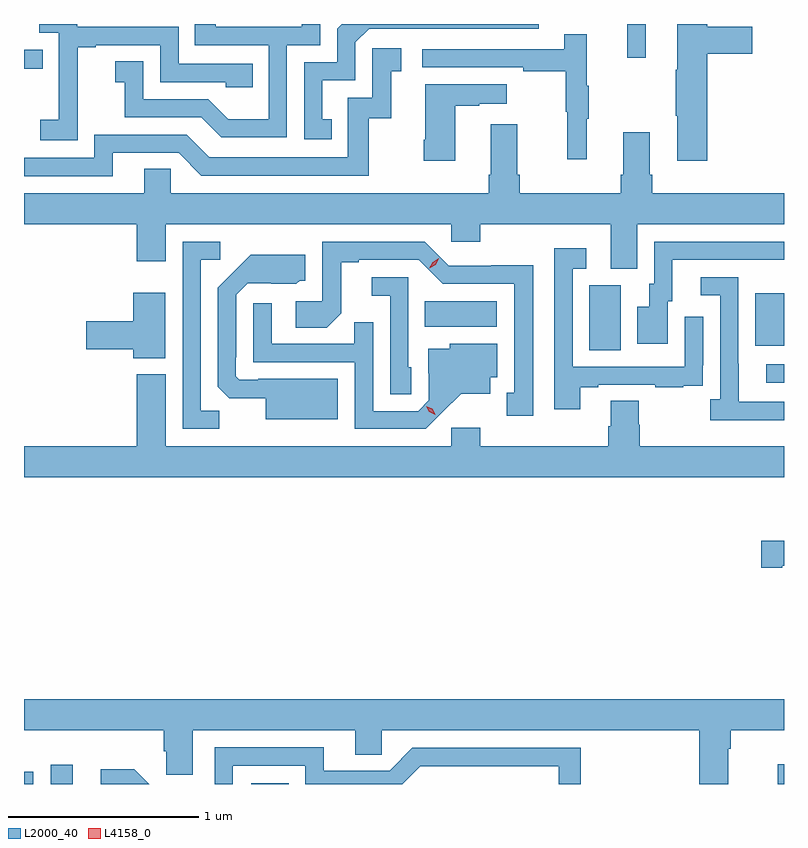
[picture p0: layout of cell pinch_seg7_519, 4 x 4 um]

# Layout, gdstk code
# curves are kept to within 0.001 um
import gdstk
lib = gdstk.Library(unit=1e-6, precision=1e-09)
def R(c, l, rs):  # rectangles x0, y0, x1, y1
    for r in rs: c.add(gdstk.rectangle(r[:2], r[2:], *l))
def P(c, l, *ps):  # polygons
    for p in ps: c.add(gdstk.Polygon(p, *l))
L2000_40 = (2000, 40)
L4158_0 = (4158, 0)

pinch_seg7_519 = lib.new_cell('pinch_seg7_519')
R(pinch_seg7_519, L2000_40, [(155.906,1058.942,155.955,1059.006), (156.048,1058.942,156.163,1059.043), (157.101,1058.942,157.299,1058.947), (159.874,1058.942,159.906,1059.046), (159.813,1061.055,159.906,1061.151), (158.882,1061.224,159.046,1061.568), (159.755,1061.249,159.906,1061.524), (158.014,1061.348,158.395,1061.482), (155.906,1062.706,156.005,1062.807), (159.081,1062.765,159.178,1062.942)])
P(pinch_seg7_519, L2000_40, [(159.503,1062.785),(159.739,1062.785),(159.739,1062.927),(159.503,1062.927),(159.503,1062.942),(159.344,1062.942),(159.344,1062.701),(159.337,1062.701),(159.337,1062.46),(159.344,1062.46),(159.344,1062.222),(159.503,1062.222)],
  [(157.29,1062.831),(157.464,1062.831),(157.464,1062.942),(157.367,1062.942),(157.367,1062.927),(156.916,1062.927),(156.916,1062.942),(156.805,1062.942),(156.805,1062.831),(157.194,1062.831),(157.194,1062.442),(156.98,1062.442),(156.876,1062.546),(156.534,1062.546),(156.534,1062.745),(156.387,1062.745),(156.387,1062.635),(156.436,1062.635),(156.436,1062.45),(156.839,1062.45),(156.944,1062.345),(157.29,1062.345)],
  [(156.189,1062.535),(156.188,1062.535),(156.188,1062.819),(156.283,1062.819),(156.283,1062.831),(156.624,1062.831),(156.624,1062.636),(156.969,1062.636),(156.969,1062.609),(157.109,1062.609),(157.109,1062.732),(156.72,1062.732),(156.72,1062.927),(156.186,1062.927),(156.186,1062.942),(155.985,1062.942),(155.985,1062.897),(156.09,1062.897),(156.09,1062.668),(156.089,1062.668),(156.089,1062.439),(155.991,1062.439),(155.991,1062.329),(156.189,1062.329)],
  [(157.526,1062.441),(157.477,1062.441),(157.477,1062.645),(157.65,1062.645),(157.65,1062.846),(157.722,1062.918),(158.616,1062.918),(158.616,1062.942),(157.578,1062.942),(157.554,1062.918),(157.554,1062.741),(157.38,1062.741),(157.38,1062.336),(157.526,1062.336)],
  [(158.867,1062.443),(158.878,1062.443),(158.878,1062.617),(158.867,1062.617),(158.867,1062.889),(158.749,1062.889),(158.749,1062.81),(158.001,1062.81),(158.001,1062.714),(158.533,1062.714),(158.533,1062.694),(158.757,1062.694),(158.757,1062.48),(158.764,1062.48),(158.764,1062.231),(158.867,1062.231)],
  [(156.373,1062.264),(156.72,1062.264),(156.84,1062.144),(157.72,1062.144),(157.72,1062.447),(157.838,1062.447),(157.838,1062.693),(157.891,1062.693),(157.891,1062.814),(157.74,1062.814),(157.74,1062.555),(157.611,1062.555),(157.611,1062.24),(156.882,1062.24),(156.762,1062.36),(156.276,1062.36),(156.276,1062.237),(155.906,1062.237),(155.906,1062.141),(156.373,1062.141)],
  [(158.176,1062.511),(158.303,1062.511),(158.303,1062.521),(158.446,1062.521),(158.446,1062.625),(158.018,1062.625),(158.018,1062.334),(158.011,1062.334),(158.011,1062.222),(158.176,1062.222)],
  [(159.133,1061.888),(159.906,1061.888),(159.906,1062.052),(159.212,1062.052),(159.212,1062.148),(159.199,1062.148),(159.199,1062.373),(159.059,1062.373),(159.059,1062.148),(159.047,1062.148),(159.047,1062.052),(158.516,1062.052),(158.516,1062.148),(158.503,1062.148),(158.503,1062.415),(158.363,1062.415),(158.363,1062.148),(158.351,1062.148),(158.351,1062.052),(156.678,1062.052),(156.678,1062.179),(156.539,1062.179),(156.539,1062.052),(155.906,1062.052),(155.906,1061.888),(156.5,1061.888),(156.5,1061.694),(156.652,1061.694),(156.652,1061.888),(158.154,1061.888),(158.154,1061.795),(158.306,1061.795),(158.306,1061.888),(158.993,1061.888),(158.993,1061.653),(159.133,1061.653)],
  [(158.587,1061.672),(158.364,1061.672),(158.364,1061.67),(158.142,1061.67),(158.016,1061.796),(157.476,1061.796),(157.476,1061.484),(157.335,1061.484),(157.335,1061.344),(157.499,1061.344),(157.575,1061.42),(157.575,1061.688),(157.669,1061.688),(157.669,1061.7),(157.983,1061.7),(158.109,1061.574),(158.486,1061.574),(158.486,1061.001),(158.447,1061.001),(158.447,1060.881),(158.587,1060.881)],
  [(156.933,1060.907),(156.837,1060.907),(156.837,1061.7),(156.94,1061.7),(156.94,1061.796),(156.741,1061.796),(156.741,1060.812),(156.933,1060.812)],
  [(159.295,1061.484),(159.319,1061.484),(159.319,1061.7),(159.906,1061.7),(159.906,1061.796),(159.222,1061.796),(159.222,1061.574),(159.197,1061.574),(159.197,1061.455),(159.134,1061.455),(159.134,1061.259),(159.295,1061.259)],
  [(158.833,1061.031),(158.929,1061.031),(158.929,1061.043),(159.229,1061.043),(159.229,1061.031),(159.377,1061.031),(159.377,1061.037),(159.479,1061.037),(159.479,1061.146),(159.48,1061.146),(159.48,1061.401),(159.384,1061.401),(159.384,1061.139),(158.793,1061.139),(158.793,1061.655),(158.866,1061.655),(158.866,1061.761),(158.697,1061.761),(158.697,1060.914),(158.833,1060.914)],
  [(157.558,1061.074),(157.138,1061.074),(157.138,1061.07),(157.038,1061.07),(157.02,1061.088),(157.02,1061.188),(157.023,1061.188),(157.023,1061.517),(157.083,1061.577),(157.34,1061.576),(157.356,1061.592),(157.387,1061.592),(157.387,1061.728),(157.099,1061.728),(156.927,1061.554),(156.927,1061.032),(156.986,1060.973),(157.178,1060.973),(157.178,1060.862),(157.558,1060.862)],
  [(157.944,1061.136),(157.929,1061.136),(157.929,1061.61),(157.737,1061.61),(157.737,1061.513),(157.833,1061.513),(157.833,1060.993),(157.944,1060.993)],
  [(159.906,1060.953),(159.667,1060.953),(159.667,1061.153),(159.666,1061.153),(159.666,1061.61),(159.468,1061.61),(159.468,1061.514),(159.57,1061.514),(159.57,1060.966),(159.519,1060.966),(159.519,1060.856),(159.906,1060.856)],
  [(156.649,1061.527),(156.482,1061.527),(156.482,1061.378),(156.234,1061.378),(156.234,1061.231),(156.482,1061.231),(156.482,1061.183),(156.649,1061.183)],
  [(158.104,1060.895),(158.207,1060.997),(158.359,1060.997),(158.359,1061.084),(158.398,1061.084),(158.398,1061.26),(158.148,1061.26),(158.148,1061.233),(158.033,1061.233),(158.033,1061.104),(158.037,1061.104),(158.037,1060.962),(157.98,1060.905),(157.743,1060.905),(157.743,1061.372),(157.645,1061.372),(157.645,1061.259),(157.209,1061.259),(157.209,1061.473),(157.113,1061.473),(157.113,1061.163),(157.647,1061.163),(157.647,1060.812),(158.02,1060.812)],
  [(158.993,1060.958),(158.993,1060.826),(158.981,1060.826),(158.981,1060.72),(158.306,1060.72),(158.306,1060.816),(158.154,1060.816),(158.154,1060.72),(156.652,1060.72),(156.652,1061.098),(156.5,1061.098),(156.5,1060.72),(155.906,1060.72),(155.906,1060.556),(159.906,1060.556),(159.906,1060.72),(159.146,1060.72),(159.146,1060.833),(159.141,1060.833),(159.141,1060.958)],
  [(159.898,1060.091),(159.906,1060.091),(159.906,1060.221),(159.786,1060.221),(159.786,1060.079),(159.898,1060.079)],
  [(159.613,1059.128),(159.626,1059.128),(159.626,1059.224),(159.906,1059.224),(159.906,1059.388),(155.906,1059.388),(155.906,1059.224),(156.641,1059.224),(156.641,1059.115),(156.654,1059.115),(156.654,1058.992),(156.793,1058.992),(156.793,1059.224),(157.649,1059.224),(157.649,1059.097),(157.788,1059.097),(157.788,1059.224),(159.461,1059.224),(159.461,1058.942),(159.613,1058.942)],
  [(157.005,1059.039),(157.386,1059.039),(157.386,1058.942),(157.898,1058.942),(157.992,1059.036),(158.721,1059.036),(158.721,1058.942),(158.837,1058.942),(158.837,1059.132),(157.95,1059.132),(157.83,1059.012),(157.483,1059.012),(157.483,1059.135),(156.909,1059.135),(156.909,1058.942),(157.005,1058.942)],
  [(156.487,1059.02),(156.309,1059.02),(156.309,1058.942),(156.565,1058.942)])
P(pinch_seg7_519, L4158_0, [(158.04,1061.656),(158.04,1061.656),(158.058,1061.689),(158.09,1061.708),(158.09,1061.708),(158.09,1061.708),(158.072,1061.675),(158.04,1061.656)],
  [(158.071,1060.886),(158.04,1060.902),(158.023,1060.931),(158.023,1060.931),(158.023,1060.931),(158.054,1060.916),(158.071,1060.887),(158.071,1060.886)])

lib.write_gds('pinch_seg7_519.gds')
